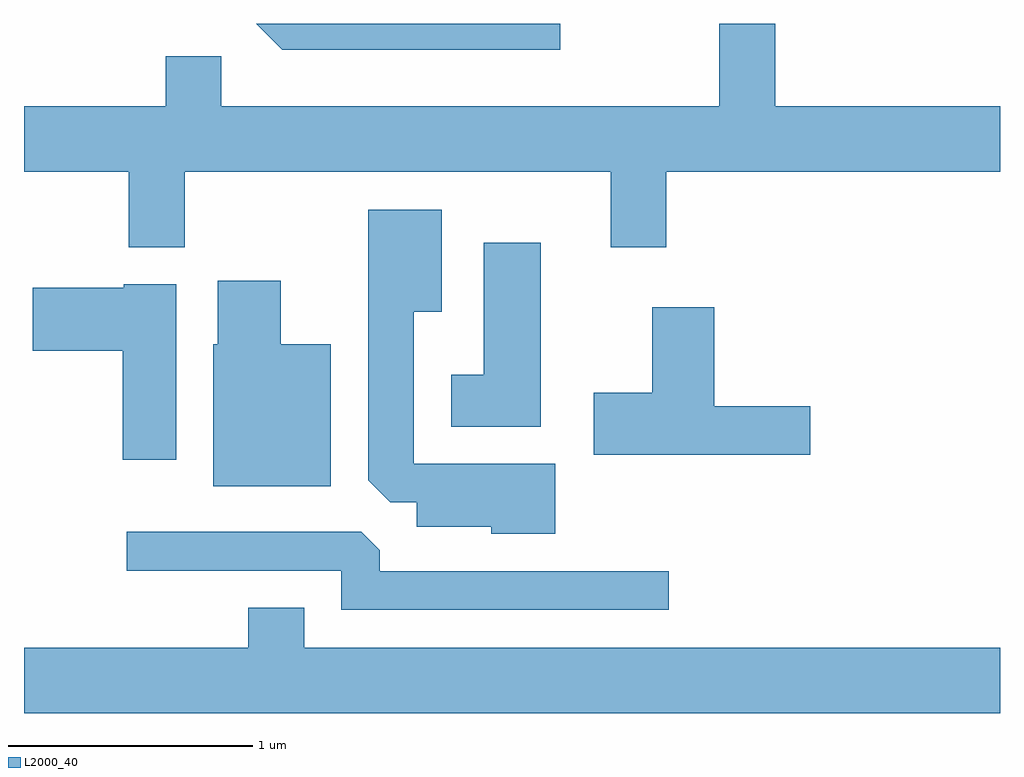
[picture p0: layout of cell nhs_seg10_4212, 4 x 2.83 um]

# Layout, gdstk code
import gdstk
lib = gdstk.Library(unit=1e-6, precision=1e-09)
def P(c, l, *ps):  # polygons
    for p in ps: c.add(gdstk.Polygon(p, *l))
L2000_40 = (2000, 40)

nhs_seg10_4212 = lib.new_cell('nhs_seg10_4212')
P(nhs_seg10_4212, L2000_40, [(310.269,2113.916),(312.016,2113.916),(312.016,2113.606),(312.244,2113.606),(312.244,2113.916),(313.611,2113.916),(313.611,2114.184),(312.689,2114.184),(312.689,2114.522),(312.461,2114.522),(312.461,2114.184),(310.419,2114.184),(310.419,2114.389),(310.191,2114.389),(310.191,2114.184),(309.611,2114.184),(309.611,2113.916),(310.041,2113.916),(310.041,2113.606),(310.269,2113.606)],
  [(311.808,2114.522),(310.563,2114.522),(310.669,2114.416),(311.808,2114.416)],
  [(311.789,2112.719),(311.209,2112.719),(311.209,2113.341),(311.324,2113.341),(311.324,2113.759),(311.021,2113.759),(311.021,2112.652),(311.112,2112.561),(311.221,2112.561),(311.221,2112.461),(311.526,2112.461),(311.526,2112.431),(311.789,2112.431)],
  [(311.729,2113.624),(311.496,2113.624),(311.496,2113.084),(311.361,2113.084),(311.361,2112.871),(311.729,2112.871)],
  [(310.869,2113.209),(310.664,2113.209),(310.664,2113.469),(310.406,2113.469),(310.406,2113.209),(310.386,2113.209),(310.386,2112.626),(310.869,2112.626)],
  [(310.234,2113.454),(310.02,2113.454),(310.02,2113.439),(309.646,2113.439),(309.646,2113.181),(310.016,2113.181),(310.016,2112.736),(310.234,2112.736)],
  [(312.834,2112.954),(312.439,2112.954),(312.439,2113.359),(312.186,2113.359),(312.186,2113.009),(311.946,2113.009),(311.946,2112.756),(312.834,2112.756)],
  [(312.253,2112.279),(311.069,2112.279),(311.069,2112.364),(310.994,2112.439),(310.033,2112.439),(310.033,2112.281),(310.911,2112.281),(310.911,2112.121),(312.253,2112.121)],
  [(313.611,2111.964),(310.759,2111.964),(310.759,2112.129),(310.531,2112.129),(310.531,2111.964),(309.611,2111.964),(309.611,2111.696),(313.611,2111.696)])

lib.write_gds('nhs_seg10_4212.gds')
